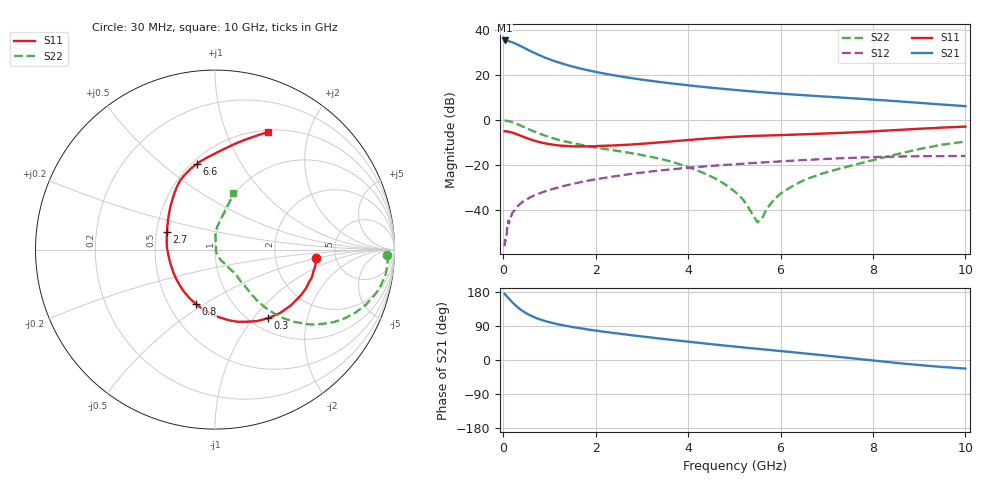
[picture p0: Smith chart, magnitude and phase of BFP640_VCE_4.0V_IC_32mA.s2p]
! Infineon Technologies  Discrete & RF Semiconductors
! BFP640
! VCE =  4.0 V,  IC =  32 mA
! Common Emitter S-Parameters:  Apr 2013
# GHz  S  MA  R  50
!  f  S11  S21  S12  S22
! GHz  MAG  ANG  MAG  ANG  MAG  ANG  MAG  ANG
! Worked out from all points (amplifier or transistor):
!   99 points, 30 MHz to 10 GHz, reference 50 ohm
!   highest |S21| = 35.3 dB at 30 MHz (marker M1)
!   |S21| within 3 dB of that: start of sweep to 425 MHz
!   unconditionally stable (mu >= 1): 2.154 GHz to end of sweep
!   at 350 MHz: K = 0.40, MSG = 35.3 dB, |S12| = -37.5 dB
!   at 3.5 GHz: K = 1.05, MAG = 18.0 dB, |S12| = -22.1 dB
!   at 10 GHz: K = 1.06, MAG = 9.5 dB, |S12| = -15.9 dB
!   S11 on the Smith chart (normalised r, x): 30 MHz: 3.52, -0.48; 300 MHz: 1.20, -1.19; 800 MHz: 0.68, -0.46; 2.7 GHz: 0.57, +0.12; 6.6 GHz: 0.53, +0.66; 10 GHz: 0.52, +1.41
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0.03  0.5648 -4.7  58.27 174.6  0.0016 79.7  0.9594 -1.8
0.08  0.5615 -14.5  57.32 167.8  0.0034 86.8  0.9619 -7.7
0.15  0.5432 -27.5  54.99 158.4  0.0065 76.3  0.9283 -15.3
0.2  0.5251 -36.2  52.82 152.0  0.0088 71.5  0.8956 -20.0
0.25  0.5062 -44.3  50.32 146.0  0.0101 73.3  0.8581 -24.1
0.3  0.4833 -52.2  47.71 140.5  0.0118 71.5  0.8173 -28.0
0.4  0.4386 -66.4  42.54 130.9  0.0147 68.8  0.7355 -34.1
0.5  0.4013 -78.9  37.68 123.2  0.0172 66.1  0.6637 -38.8
0.6  0.3694 -90.0  33.49 116.7  0.0198 64.3  0.5987 -42.3
0.8  0.3216 -109.4  26.95 106.9  0.024 62.7  0.4955 -46.8
1  0.2927 -125.5  22.3 99.7  0.0283 61.5  0.42 -49.3
1.2  0.2743 -139.3  18.93 93.9  0.0322 60.4  0.3653 -50.5
1.7  0.2601 -165.8  13.68 83.1  0.0426 58.4  0.281 -50.6
2.1  0.2678 178.6  11.17 76.0  0.0504 55.9  0.2371 -51.1
2.7  0.2846 160.1  8.748 66.6  0.0624 51.8  0.1902 -50.1
3.4  0.3214 143.3  6.966 56.5  0.0764 46.3  0.1376 -52.3
5.1  0.4305 116.7  4.574 34.3  0.1063 31.8  0.0214 -66.5
5.5  0.4476 112.5  4.221 29.5  0.1129 28.4  0.0054 -2.4
6.6  0.4874 102.0  3.506 16.4  0.1315 18.8  0.0505 86.0
6.7  0.4923 100.9  3.455 15.2  0.133 17.9  0.0553 86.2
8.5  0.6005 79.2  2.626 -7.6  0.155 -0.1  0.1731 79.0
10  0.7166 65.9  2.039 -22.6  0.1598 -12.1  0.3339 72.1
